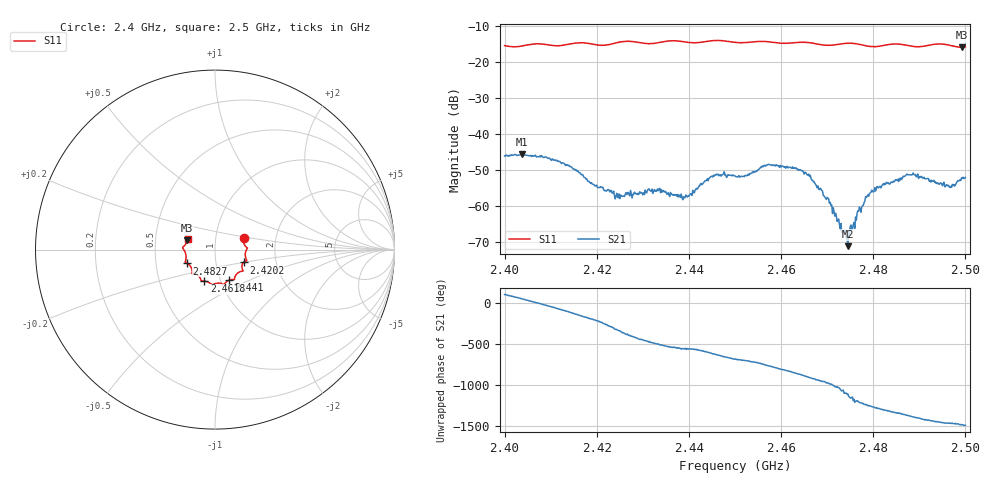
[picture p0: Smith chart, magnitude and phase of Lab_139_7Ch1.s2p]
# Hz S RI R 50
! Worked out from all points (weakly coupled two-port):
!   601 points, 2.4 GHz to 2.5 GHz, reference 50 ohm
!   highest |S21| = -45.52 dB at 2.4037 GHz (marker M1); lowest = -71.2 dB at 2.4745 GHz (marker M2)
!   lowest |S11| = -15.8 dB at 2.4993 GHz (marker M3), VSWR 1.39, Z = 36.5 + j3.8 ohm
!   |S11| at or under -10 dB: start of sweep to end of sweep
!   S12 and S22 are empty: the file has one direction only
!   S11 on the Smith chart (normalised r, x): 2.4 GHz: 1.36, +0.18; 2.4202 GHz: 1.36, -0.20; 2.441 GHz: 1.10, -0.39; 2.4618 GHz: 0.84, -0.30; 2.4827 GHz: 0.72, -0.11; 2.5 GHz: 0.73, +0.09
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2.4e9  0.1589 0.0629  -0.00103 0.00485  0 0  0 0
2.403667e9  0.167 0.0224  0.0033 0.00414  0 0  0 0
2.4115e9  0.1686 -0.0222  0.00147 -0.0039  0 0  0 0
2.416667e9  0.1772 -0.0608  -0.00253 -0.000984  0 0  0 0
2.420167e9  0.159 -0.0714  -0.00142 0.0011  0 0  0 0
2.4245e9  0.1527 -0.1108  0.00117 0.000697  0 0  0 0
2.433333e9  0.1116 -0.1508  -0.0012 -0.00111  0 0  0 0
2.438667e9  0.1001 -0.1668  -0.00117 0.000326  0 0  0 0
2.441e9  0.0788 -0.17  -0.00144 0.0005  0 0  0 0
2.445833e9  0.0501 -0.1953  -0.000186 0.00268  0 0  0 0
2.45e9  0.0285 -0.1876  0.00199 0.0017  0 0  0 0
2.457e9  -0.02 -0.193  0.00285 -0.00239  0 0  0 0
2.461833e9  -0.0591 -0.1755  -0.00128 -0.00319  0 0  0 0
2.466667e9  -0.079 -0.1683  -0.00221 0.000629  0 0  0 0
2.4745e9  -0.1266 -0.1343  0.000246 -0.000121  0 0  0 0
2.478833e9  -0.1292 -0.1073  -0.0014 -0.000245  0 0  0 0
2.482667e9  -0.1559 -0.0771  -0.00145 0.00137  0 0  0 0
2.483333e9  -0.1603 -0.0751  -0.00135 0.00159  0 0  0 0
2.488167e9  -0.1613 -0.048  0.00129 0.00237  0 0  0 0
2.4965e9  -0.172 0.02  0.00172 -0.000697  0 0  0 0
2.499333e9  -0.1541 0.0507  0.00189 -0.00152  0 0  0 0
2.5e9  -0.1523 0.0604  0.00171 -0.00179  0 0  0 0
